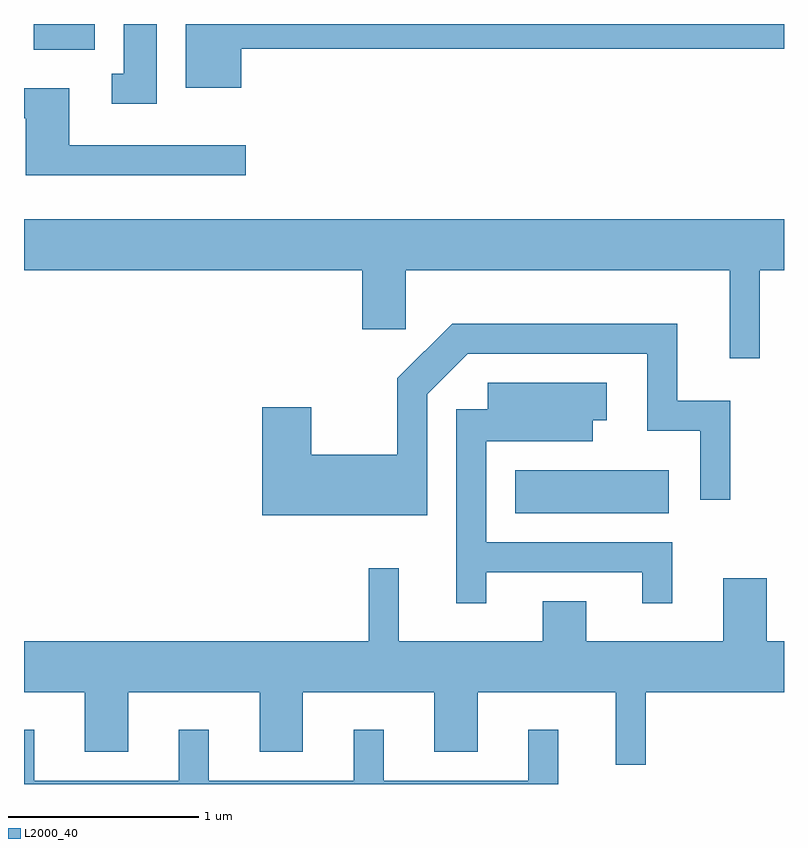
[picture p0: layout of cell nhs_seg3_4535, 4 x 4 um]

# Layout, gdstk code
import gdstk
lib = gdstk.Library(unit=1e-6, precision=1e-09)
def R(c, l, rs):  # rectangles x0, y0, x1, y1
    for r in rs: c.add(gdstk.rectangle(r[:2], r[2:], *l))
def P(c, l, *ps):  # polygons
    for p in ps: c.add(gdstk.Polygon(p, *l))
L2000_40 = (2000, 40)

nhs_seg3_4535 = lib.new_cell('nhs_seg3_4535')
R(nhs_seg3_4535, L2000_40, [(320.196,1211.316,321.004,1211.544), (317.661,1213.756,317.984,1213.892)])
P(nhs_seg3_4535, L2000_40, [(318.309,1213.892),(318.136,1213.892),(318.136,1213.629),(318.073,1213.629),(318.073,1213.471),(318.309,1213.471)],
  [(318.754,1213.761),(321.611,1213.761),(321.611,1213.892),(318.461,1213.892),(318.461,1213.556),(318.754,1213.556)],
  [(318.778,1213.254),(317.849,1213.254),(317.849,1213.554),(317.611,1213.554),(317.611,1213.396),(317.621,1213.396),(317.621,1213.096),(318.778,1213.096)],
  [(321.484,1212.596),(321.611,1212.596),(321.611,1212.864),(317.611,1212.864),(317.611,1212.596),(319.391,1212.596),(319.391,1212.286),(319.619,1212.286),(319.619,1212.596),(321.326,1212.596),(321.326,1212.133),(321.484,1212.133)],
  [(319.734,1211.944),(319.947,1212.156),(320.891,1212.156),(320.891,1211.751),(321.171,1211.751),(321.171,1211.388),(321.329,1211.388),(321.329,1211.909),(321.049,1211.909),(321.049,1212.314),(319.864,1212.314),(319.576,1212.027),(319.576,1211.624),(319.124,1211.624),(319.124,1211.874),(318.866,1211.874),(318.866,1211.306),(319.734,1211.306)],
  [(320.044,1211.006),(320.866,1211.006),(320.866,1210.843),(321.024,1210.843),(321.024,1211.164),(320.044,1211.164),(320.044,1211.696),(320.604,1211.696),(320.604,1211.806),(320.679,1211.806),(320.679,1212.004),(320.051,1212.004),(320.051,1211.864),(319.886,1211.864),(319.886,1210.843),(320.044,1210.843)],
  [(320.884,1210.376),(321.611,1210.376),(321.611,1210.644),(321.519,1210.644),(321.519,1210.974),(321.291,1210.974),(321.291,1210.644),(320.569,1210.644),(320.569,1210.854),(320.341,1210.854),(320.341,1210.644),(319.584,1210.644),(319.584,1211.028),(319.426,1211.028),(319.426,1210.644),(317.611,1210.644),(317.611,1210.376),(317.931,1210.376),(317.931,1210.061),(318.159,1210.061),(318.159,1210.376),(318.851,1210.376),(318.851,1210.061),(319.079,1210.061),(319.079,1210.376),(319.771,1210.376),(319.771,1210.061),(319.999,1210.061),(319.999,1210.376),(320.726,1210.376),(320.726,1209.993),(320.884,1209.993)],
  [(320.424,1210.178),(320.266,1210.178),(320.266,1209.909),(319.504,1209.909),(319.504,1210.178),(319.346,1210.178),(319.346,1209.909),(318.584,1209.909),(318.584,1210.178),(318.426,1210.178),(318.426,1209.909),(317.664,1209.909),(317.664,1210.178),(317.611,1210.178),(317.611,1209.892),(320.424,1209.892)])

lib.write_gds('nhs_seg3_4535.gds')
